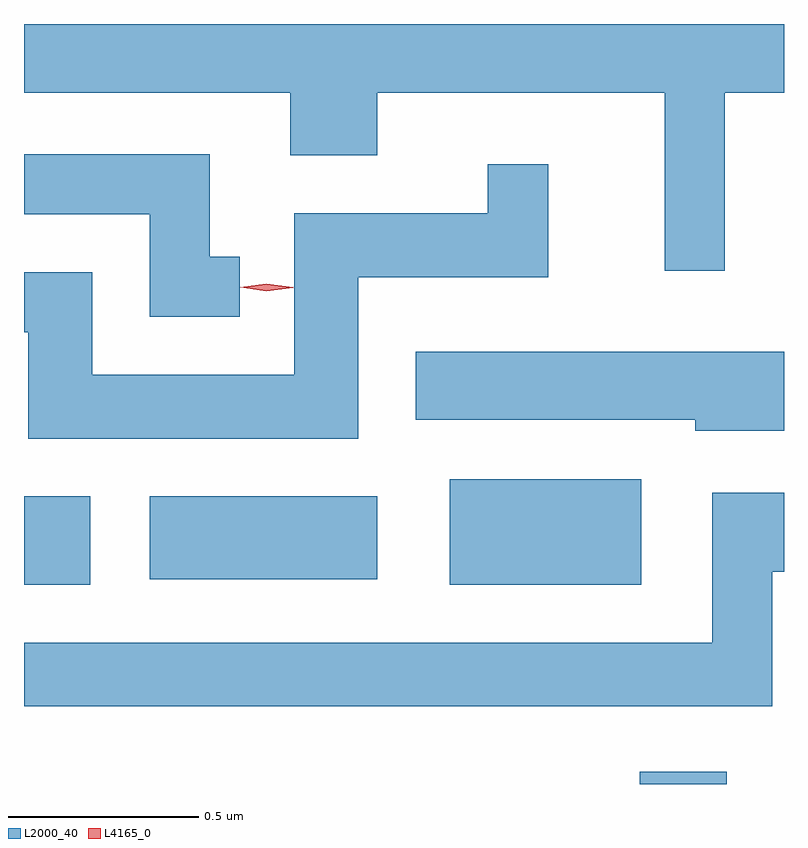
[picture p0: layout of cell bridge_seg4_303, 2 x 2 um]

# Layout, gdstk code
import gdstk
lib = gdstk.Library(unit=1e-6, precision=1e-09)
def R(c, l, rs):  # rectangles x0, y0, x1, y1
    for r in rs: c.add(gdstk.rectangle(r[:2], r[2:], *l))
def P(c, l, *ps):  # polygons
    for p in ps: c.add(gdstk.Polygon(p, *l))
L2000_40 = (2000, 40)
L4165_0 = (4165, 0)

bridge_seg4_303 = lib.new_cell('bridge_seg4_303')
R(bridge_seg4_303, L2000_40, [(532.951,1259.617,533.179,1259.649), (531.33,1260.141,531.504,1260.374), (532.451,1260.141,532.954,1260.419), (531.661,1260.156,532.259,1260.374)])
P(bridge_seg4_303, L2000_40, [(533.174,1261.436),(533.33,1261.436),(533.33,1261.617),(531.33,1261.617),(531.33,1261.436),(532.031,1261.436),(532.031,1261.271),(532.259,1261.271),(532.259,1261.436),(533.016,1261.436),(533.016,1260.968),(533.174,1260.968)],
  [(531.898,1261.004),(531.819,1261.004),(531.819,1261.274),(531.33,1261.274),(531.33,1261.116),(531.661,1261.116),(531.661,1260.846),(531.898,1260.846)],
  [(532.209,1260.951),(532.709,1260.951),(532.709,1261.248),(532.551,1261.248),(532.551,1261.119),(532.041,1261.119),(532.041,1260.694),(531.509,1260.694),(531.509,1260.964),(531.33,1260.964),(531.33,1260.806),(531.341,1260.806),(531.341,1260.526),(532.209,1260.526)],
  [(533.33,1260.754),(532.361,1260.754),(532.361,1260.576),(533.096,1260.576),(533.096,1260.546),(533.33,1260.546)],
  [(533.299,1260.176),(533.33,1260.176),(533.33,1260.384),(533.141,1260.384),(533.141,1259.989),(531.33,1259.989),(531.33,1259.821),(533.299,1259.821)])
P(bridge_seg4_303, L4165_0, [(531.968,1260.914),(531.899,1260.924),(531.899,1260.924),(531.899,1260.924),(531.968,1260.934),(532.038,1260.924),(532.038,1260.923),(532.038,1260.923)])

lib.write_gds('bridge_seg4_303.gds')
